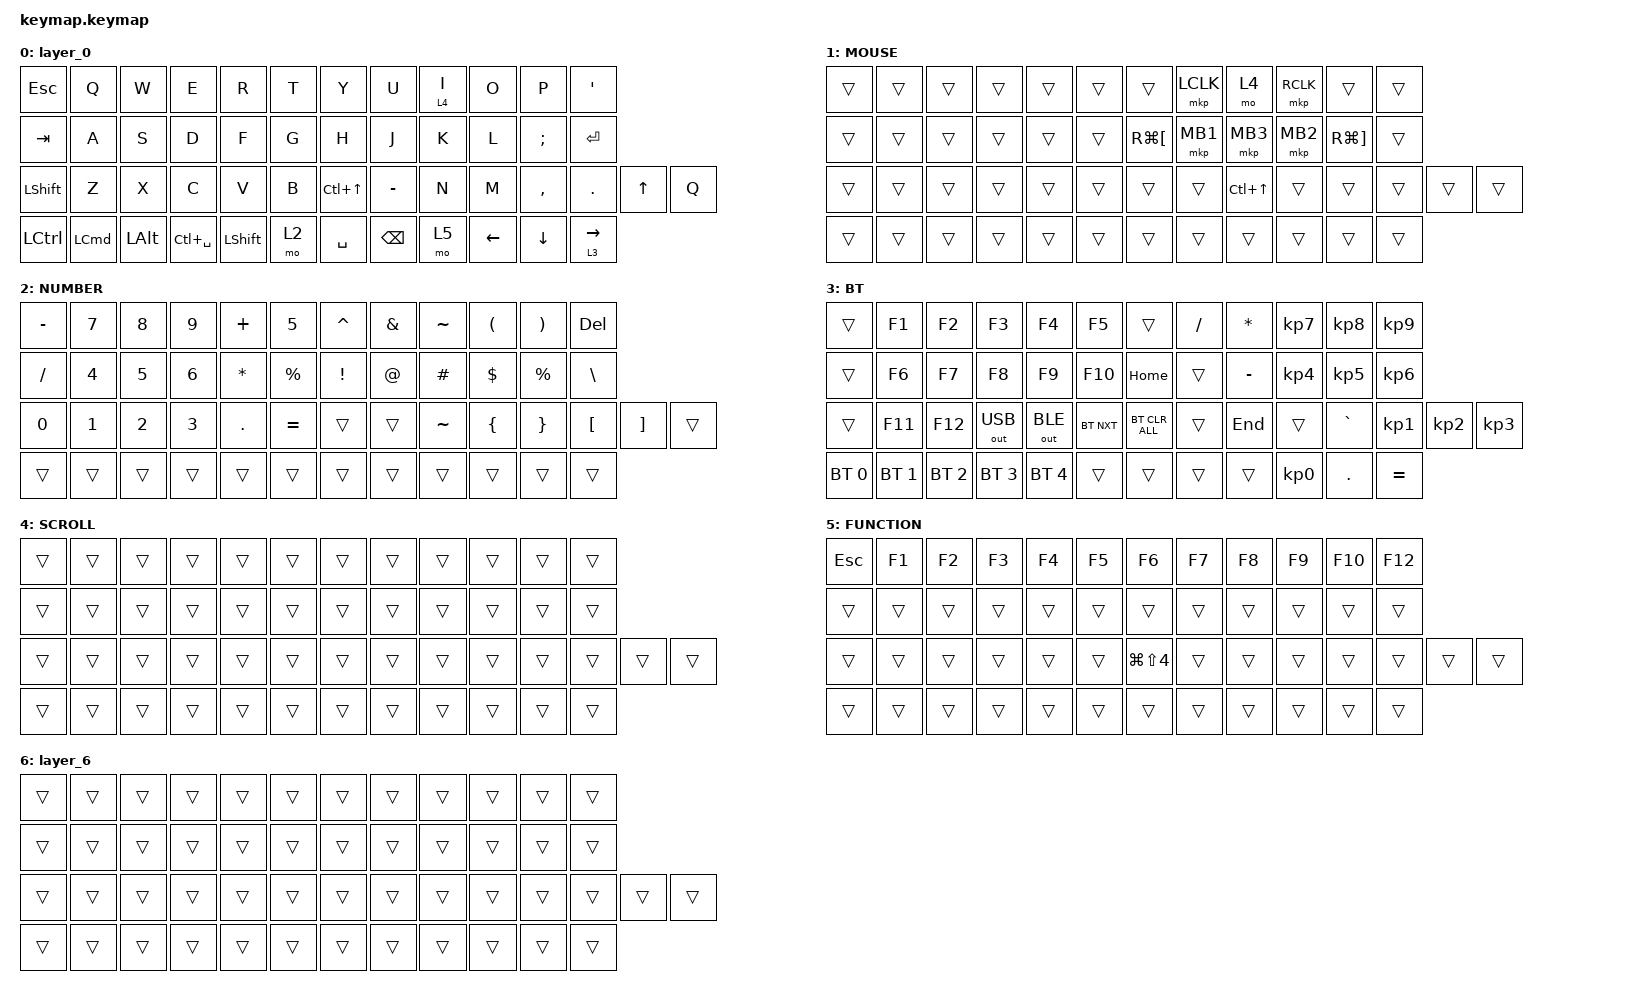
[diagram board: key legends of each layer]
#include <behaviors.dtsi>
#include <dt-bindings/zmk/bt.h>
#include <dt-bindings/zmk/keys.h>
#include <dt-bindings/zmk/outputs.h>
#include <dt-bindings/zmk/pointing.h>

/ {
    combos {
        compatible = "zmk,combos";

        bt_clear {
            bindings = <&bt BT_CLR>;
            key-positions = <28 29>;
            layers = <2>;
        };
    };

    keymap {
        compatible = "zmk,keymap";

        layer_0 {
            bindings = <
&kp ESCAPE        &kp Q             &kp W         &kp E          &kp R           &kp T  &kp Y             &kp U          &lt 4 I  &kp O           &kp P           &kp SQT
&kp TAB           &kp A             &kp S         &kp D          &kp F           &kp G  &kp H             &kp J          &kp K    &kp L           &kp SEMICOLON   &kp ENTER
&kp LSHFT         &kp Z             &kp X         &kp C          &kp V           &kp B  &kp LC(UP_ARROW)  &kp MINUS      &kp N    &kp M           &kp COMMA       &kp DOT      &kp UP_ARROW  &kp Q
&kp LEFT_CONTROL  &kp LEFT_COMMAND  &kp LEFT_ALT  &kp LC(SPACE)  &kp LEFT_SHIFT  &mo 2  &kp SPACE         &kp BACKSPACE  &mo 5    &kp LEFT_ARROW  &kp DOWN_ARROW  &lt 3 RIGHT
            >;
        };

        MOUSE {
            bindings = <
&trans  &trans  &trans  &trans  &trans  &trans  &trans                &mkp LCLK  &mo 4             &mkp RCLK  &trans                 &trans
&trans  &trans  &trans  &trans  &trans  &trans  &kp RG(LEFT_BRACKET)  &mkp MB1   &mkp MB3          &mkp MB2   &kp RG(RIGHT_BRACKET)  &trans
&trans  &trans  &trans  &trans  &trans  &trans  &trans                &trans     &kp LC(UP_ARROW)  &trans     &trans                 &trans  &trans  &trans
&trans  &trans  &trans  &trans  &trans  &trans  &trans                &trans     &trans            &trans     &trans                 &trans
            >;
        };

        NUMBER {
            bindings = <
&kp MINUS     &kp N7        &kp NUMBER_8  &kp NUMBER_9  &kp PLUS      &kp N5     &kp CARET        &kp AMPERSAND  &kp TILDE  &kp LEFT_PARENTHESIS  &kp RIGHT_PARENTHESIS  &kp DELETE
&kp SLASH     &kp NUMBER_4  &kp N5        &kp NUMBER_6  &kp ASTERISK  &kp PRCNT  &kp EXCLAMATION  &kp AT_SIGN    &kp HASH   &kp DOLLAR            &kp PERCENT            &kp BACKSLASH
&kp NUMBER_0  &kp NUMBER_1  &kp NUMBER_2  &kp NUMBER_3  &kp PERIOD    &kp EQUAL  &trans           &trans         &kp TILDE  &kp LEFT_BRACE        &kp RIGHT_BRACE        &kp LEFT_BRACKET  &kp RIGHT_BRACKET  &trans
&trans        &trans        &trans        &trans        &trans        &trans     &trans           &trans         &trans     &trans                &trans                 &trans
            >;
        };

        BT {
            bindings = <
&trans        &kp F1        &kp F2        &kp F3        &kp F4        &kp F5      &trans          &kp FSLH  &kp ASTRK  &kp KP_NUMBER_7  &kp KP_NUMBER_8  &kp KP_NUMBER_9
&trans        &kp F6        &kp F7        &kp F8        &kp F9        &kp F10     &kp HOME        &trans    &kp MINUS  &kp KP_NUMBER_4  &kp KP_NUMBER_5  &kp KP_NUMBER_6
&trans        &kp F11       &kp F12       &out OUT_USB  &out OUT_BLE  &bt BT_NXT  &bt BT_CLR_ALL  &trans    &kp END    &trans           &kp GRAVE        &kp KP_NUMBER_1  &kp KP_NUMBER_2  &kp KP_NUMBER_3
&bt BT_SEL 0  &bt BT_SEL 1  &bt BT_SEL 2  &bt BT_SEL 3  &bt BT_SEL 4  &trans      &trans          &trans    &trans     &kp KP_NUMBER_0  &kp DOT          &kp EQUAL
            >;
        };

        SCROLL {
            bindings = <
&trans  &trans  &trans  &trans  &trans  &trans  &trans  &trans  &trans  &trans  &trans  &trans
&trans  &trans  &trans  &trans  &trans  &trans  &trans  &trans  &trans  &trans  &trans  &trans
&trans  &trans  &trans  &trans  &trans  &trans  &trans  &trans  &trans  &trans  &trans  &trans  &trans  &trans
&trans  &trans  &trans  &trans  &trans  &trans  &trans  &trans  &trans  &trans  &trans  &trans
            >;
        };

        FUNCTION {
            bindings = <
&kp ESC  &kp F1  &kp F2  &kp F3  &kp F4  &kp F5  &kp F6                &kp F7  &kp F8  &kp F9  &kp F10  &kp F12
&trans   &trans  &trans  &trans  &trans  &trans  &trans                &trans  &trans  &trans  &trans   &trans
&trans   &trans  &trans  &trans  &trans  &trans  &kp LG(LS(NUMBER_4))  &trans  &trans  &trans  &trans   &trans   &trans  &trans
&trans   &trans  &trans  &trans  &trans  &trans  &trans                &trans  &trans  &trans  &trans   &trans
            >;
        };

        layer_6 {
            bindings = <
&trans  &trans  &trans  &trans  &trans  &trans  &trans  &trans  &trans  &trans  &trans  &trans
&trans  &trans  &trans  &trans  &trans  &trans  &trans  &trans  &trans  &trans  &trans  &trans
&trans  &trans  &trans  &trans  &trans  &trans  &trans  &trans  &trans  &trans  &trans  &trans  &trans  &trans
&trans  &trans  &trans  &trans  &trans  &trans  &trans  &trans  &trans  &trans  &trans  &trans
            >;
        };
    };
};
